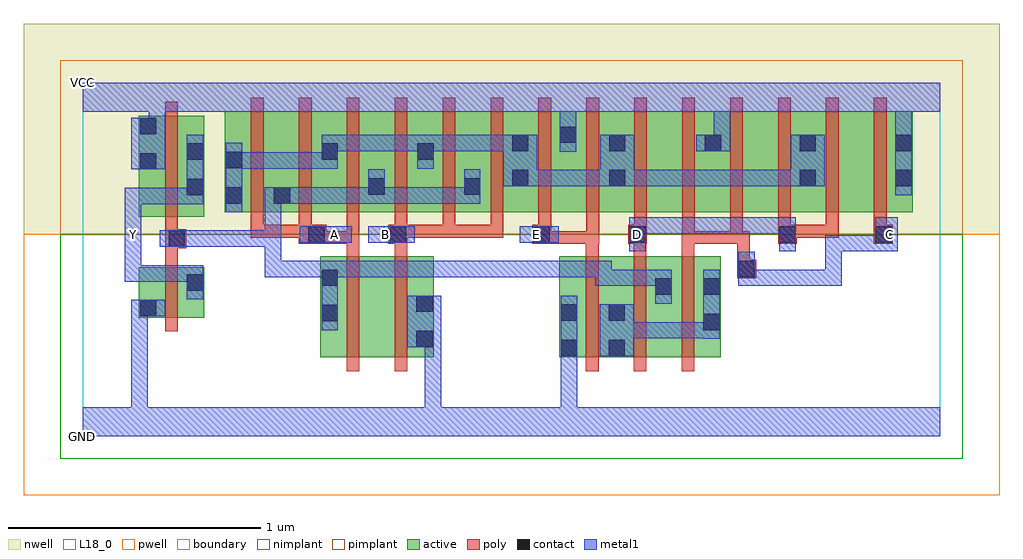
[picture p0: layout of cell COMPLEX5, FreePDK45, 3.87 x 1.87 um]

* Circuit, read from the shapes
.subckt COMPLEX5 A B C D E GND VCC Y
M1 Y n1 GND VSUBS nfet w=0.2u l=0.05u
M2 n2 A n1 VSUBS nfet w=0.4u l=0.05u
M3 GND B n2 VSUBS nfet w=0.4u l=0.05u
M4 n3 E GND VSUBS nfet w=0.4u l=0.05u
M5 n1 D n3 VSUBS nfet w=0.4u l=0.05u
M6 n3 C n1 VSUBS nfet w=0.4u l=0.05u
M7 Y n1 VCC n4 pfet w=0.4u l=0.05u
M8 n1 A n5 n4 pfet w=0.4u l=0.05u m=3
M9 n5 B n1 n4 pfet w=0.4u l=0.05u m=3
M10 VCC E n5 n4 pfet w=0.4u l=0.05u m=2
M11 n6 D n5 n4 pfet w=0.4u l=0.05u
M12 VCC C n6 n4 pfet w=0.4u l=0.05u
M13 n7 C VCC n4 pfet w=0.4u l=0.05u
M14 n5 D n7 n4 pfet w=0.4u l=0.05u
M15 n8 D n5 n4 pfet w=0.4u l=0.05u
M16 VCC C n8 n4 pfet w=0.4u l=0.05u
.ends

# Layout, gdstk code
import gdstk
lib = gdstk.Library(unit=1e-6, precision=1e-09)
def R(c, l, rs):  # rectangles x0, y0, x1, y1
    for r in rs: c.add(gdstk.rectangle(r[:2], r[2:], *l))
def A(c, l, x, y, w, h, nx, ny, dx, dy):  # array of equal rectangles
    R(c, l, [(x+i*dx, y+j*dy, x+i*dx+w, y+j*dy+h) for i in range(nx) for j in range(ny)])
active = (1, 0)
pwell = (2, 0)
nwell = (3, 0)
nimplant = (4, 0)
pimplant = (5, 0)
poly = (9, 0)
contact = (10, 0)
metal1 = (11, 0)
L18_0 = (18, 0)
boundary = (235, 0)

complex5 = lib.new_cell('COMPLEX5')
R(complex5, active, [(0.942,0.312,1.167,0.712), (1.167,0.312,1.392,0.712), (1.317,0.312,1.392,0.577), (1.89,0.312,2.155,0.712), (1.89,0.312,1.965,0.712), (2.08,0.312,2.155,0.597), (2.08,0.312,2.34,0.712), (2.265,0.312,2.53,0.712), (0.942,0.345,1.017,0.712), (2.265,0.345,2.34,0.63), (2.455,0.345,2.53,0.712), (0.222,0.47,0.482,0.67), (0.222,0.47,0.297,0.67), (0.407,0.532,0.482,0.67), (0.222,0.87,0.482,1.27), (0.222,0.87,0.297,1.267), (0.407,0.87,0.482,1.2), (0.562,0.887,0.827,1.287), (0.562,0.887,0.637,1.2), (0.752,0.887,1.017,1.287), (0.942,0.887,1.202,1.287), (1.127,0.887,1.397,1.287), (1.322,0.887,1.582,1.287), (1.507,0.887,1.772,1.287), (1.697,0.887,1.962,1.287), (1.887,0.887,2.157,1.287), (2.082,0.887,2.307,1.287), (2.307,0.887,2.537,1.287), (2.462,0.887,2.687,1.287), (2.687,0.887,2.912,1.287), (2.837,0.887,3.067,1.287), (3.067,0.887,3.292,1.287), (3.217,0.887,3.292,1.255), (0.752,0.907,0.827,1.07), (0.942,0.907,1.017,1.2), (1.127,0.907,1.202,1.07), (1.322,0.907,1.397,1.2), (1.507,0.907,1.582,1.07), (1.697,0.907,1.772,1.2), (1.887,0.907,1.962,1.255), (2.082,0.907,2.157,1.2), (2.462,0.907,2.537,1.255), (2.837,0.907,2.912,1.2)])
R(complex5, pwell, [(-0.235,-0.235,3.635,0.8)])
R(complex5, nwell, [(-0.235,0.8,3.635,1.635)])
R(complex5, nimplant, [(-0.09,-0.09,3.49,0.8)])
R(complex5, pimplant, [(-0.09,0.8,3.49,1.49)])
A(complex5, poly, 1.995, 0.257, 0.05, 0.51, 3, 1, 0.19, 0)
A(complex5, poly, 1.995, 0.717, 0.05, 0.095, 3, 1, 0.19, 0)
A(complex5, poly, 1.237, 0.787, 0.05, 0.095, 4, 1, 0.19, 0)
A(complex5, poly, 1.237, 0.787, 0.05, 0.05, 3, 1, 0.19, 0)
A(complex5, poly, 2.757, 0.787, 0.05, 0.095, 3, 1, 0.19, 0)
A(complex5, poly, 0.667, 0.832, 0.05, 0.51, 14, 1, 0.19, 0)
R(complex5, poly, [(1.047,0.257,1.097,0.767), (1.237,0.257,1.287,0.767), (0.327,0.415,0.377,0.725), (2.595,0.625,2.67,0.7), (2.595,0.65,2.645,0.812), (0.327,0.675,0.377,0.795), (1.047,0.717,1.097,0.812), (1.237,0.717,1.287,0.812), (0.327,0.745,0.41,0.82), (0.857,0.762,0.965,0.837), (0.915,0.762,1.097,0.812), (1.047,0.762,1.097,0.812), (1.047,0.762,1.097,0.812), (1.047,0.762,1.097,0.812), (1.047,0.762,1.097,0.882), (1.212,0.762,1.287,0.837), (1.782,0.762,1.857,0.837), (1.807,0.762,1.857,0.812), (1.807,0.762,1.857,0.812), (1.807,0.762,2.045,0.812), (1.995,0.762,2.047,0.812), (1.997,0.762,2.047,0.882), (2.162,0.762,2.237,0.837), (2.375,0.762,2.427,0.812), (2.377,0.762,2.427,0.882), (2.377,0.762,2.617,0.812), (2.567,0.762,2.617,0.812), (2.567,0.762,2.617,0.812), (2.567,0.762,2.617,0.882), (2.567,0.762,2.645,0.812), (2.595,0.762,2.645,0.812), (2.595,0.762,2.645,0.812), (2.757,0.762,2.832,0.837), (3.137,0.762,3.212,0.837), (0.327,0.77,0.377,0.865), (0.667,0.787,0.717,0.882), (0.667,0.787,0.717,0.837), (0.667,0.787,0.717,0.837), (0.667,0.787,0.717,0.837), (0.667,0.787,0.907,0.837), (0.857,0.787,0.907,0.882), (1.237,0.787,1.287,0.837), (1.237,0.787,1.477,0.837), (1.427,0.787,1.667,0.837), (1.617,0.787,1.667,0.837), (1.617,0.787,1.667,0.837), (2.187,0.787,2.237,0.882), (2.782,0.787,2.997,0.837), (2.782,0.787,2.832,0.837), (2.782,0.787,2.832,0.837), (2.947,0.787,2.997,0.837), (0.327,0.815,0.377,1.325)])
R(complex5, contact, [(1.895,0.317,1.96,0.382), (2.085,0.317,2.15,0.382), (1.322,0.352,1.387,0.417), (2.46,0.42,2.525,0.485), (0.947,0.455,1.012,0.52), (1.895,0.457,1.96,0.522), (2.085,0.457,2.15,0.522), (0.227,0.475,0.292,0.54), (1.322,0.492,1.387,0.557), (2.27,0.56,2.335,0.625), (2.46,0.56,2.525,0.625), (0.412,0.577,0.477,0.642), (0.947,0.595,1.012,0.66), (2.6,0.63,2.665,0.695), (0.34,0.75,0.405,0.815), (0.895,0.767,0.96,0.832), (1.217,0.767,1.282,0.832), (1.787,0.767,1.852,0.832), (2.167,0.767,2.232,0.832), (2.762,0.767,2.827,0.832), (3.142,0.767,3.207,0.832), (0.567,0.922,0.632,0.987), (0.757,0.922,0.822,0.987), (0.412,0.955,0.477,1.02), (1.132,0.957,1.197,1.022), (1.512,0.957,1.577,1.022), (1.702,0.99,1.767,1.055), (2.087,0.99,2.152,1.055), (2.842,0.99,2.907,1.055), (3.222,0.99,3.287,1.055), (0.227,1.057,0.292,1.122), (0.567,1.062,0.632,1.127), (0.412,1.095,0.477,1.16), (0.947,1.095,1.012,1.16), (1.327,1.095,1.392,1.16), (1.702,1.13,1.767,1.195), (2.087,1.13,2.152,1.195), (2.467,1.13,2.532,1.195), (2.842,1.13,2.907,1.195), (3.222,1.13,3.287,1.195), (1.892,1.162,1.957,1.227), (0.227,1.197,0.292,1.262)])
R(complex5, metal1, [(0,0,3.4,0.115), (0.192,0.05,0.257,0.115), (0.192,0.05,0.257,0.115), (0.192,0.05,0.257,0.115), (0.192,0.05,0.257,0.115), (0.192,0.05,0.257,0.115), (0.192,0.05,0.257,0.115), (0.192,0.05,0.257,0.115), (0.192,0.05,0.257,0.115), (0.192,0.05,0.257,0.54), (1.357,0.05,1.422,0.115), (1.357,0.05,1.422,0.115), (1.357,0.05,1.422,0.417), (1.895,0.05,1.96,0.115), (1.895,0.05,1.96,0.115), (1.895,0.05,1.96,0.347), (1.895,0.282,1.96,0.557), (1.895,0.282,1.96,0.347), (1.895,0.282,1.96,0.347), (2.05,0.317,2.185,0.522), (1.287,0.352,1.422,0.557), (1.357,0.352,1.422,0.417), (1.357,0.352,1.422,0.417), (2.46,0.385,2.525,0.66), (2.12,0.387,2.185,0.452), (2.12,0.387,2.185,0.452), (2.12,0.387,2.36,0.452), (2.295,0.387,2.36,0.452), (2.295,0.387,2.37,0.452), (2.305,0.387,2.37,0.452), (2.305,0.387,2.525,0.452), (0.947,0.42,1.012,0.695), (0.192,0.475,0.327,0.54), (2.27,0.525,2.335,0.66), (0.412,0.542,0.477,0.677), (2.032,0.595,2.097,0.66), (2.032,0.595,2.097,0.66), (2.032,0.595,2.335,0.66), (2.032,0.595,2.097,0.695), (2.6,0.595,2.665,0.66), (2.6,0.595,2.665,0.66), (2.6,0.595,2.665,0.66), (2.6,0.595,2.665,0.66), (2.6,0.595,2.665,0.73), (2.6,0.595,2.872,0.66), (2.807,0.595,2.872,0.66), (2.807,0.595,2.872,0.66), (2.807,0.595,2.872,0.66), (2.807,0.595,3.01,0.66), (2.945,0.595,3.01,0.797), (2.945,0.595,3.01,0.66), (2.945,0.595,3.01,0.66), (2.945,0.595,3.01,0.66), (0.167,0.612,0.232,0.797), (0.167,0.612,0.232,0.677), (0.167,0.612,0.232,0.677), (0.167,0.612,0.232,0.677), (0.167,0.612,0.477,0.677), (0.722,0.63,0.787,0.815), (0.722,0.63,0.787,0.695), (0.722,0.63,0.787,0.695), (0.722,0.63,0.787,0.695), (0.722,0.63,1.012,0.695), (0.947,0.63,1.012,0.695), (0.947,0.63,1.012,0.695), (0.947,0.63,1.205,0.695), (1.14,0.63,1.205,0.695), (1.14,0.63,1.205,0.695), (1.14,0.63,1.205,0.695), (1.14,0.63,1.417,0.695), (1.352,0.63,1.417,0.695), (1.352,0.63,1.417,0.695), (1.352,0.63,1.417,0.695), (1.352,0.63,1.555,0.695), (1.49,0.63,1.555,0.695), (1.49,0.63,1.555,0.695), (1.49,0.63,1.555,0.695), (1.49,0.63,1.802,0.695), (1.737,0.63,1.802,0.695), (1.737,0.63,1.802,0.695), (1.737,0.63,1.802,0.695), (1.737,0.63,1.96,0.695), (1.895,0.63,1.96,0.695), (1.895,0.63,1.96,0.695), (1.895,0.63,1.96,0.695), (1.895,0.63,2.097,0.695), (0.167,0.732,0.232,0.867), (2.167,0.732,2.232,0.867), (2.762,0.732,2.827,0.867), (2.945,0.732,3.207,0.797), (2.945,0.732,3.01,0.797), (3.142,0.732,3.232,0.867), (0.305,0.75,0.44,0.815), (0.375,0.75,0.44,0.815), (0.375,0.75,0.44,0.815), (0.375,0.75,0.65,0.815), (0.585,0.75,0.65,0.815), (0.585,0.75,0.65,0.815), (0.585,0.75,0.65,0.815), (0.585,0.75,0.787,0.815), (0.722,0.75,0.787,0.815), (0.722,0.75,0.787,0.987), (0.86,0.767,1.067,0.832), (1.132,0.767,1.317,0.832), (1.732,0.767,1.887,0.832), (0.167,0.802,0.232,0.985), (2.167,0.802,2.36,0.867), (2.295,0.802,2.36,0.867), (2.295,0.802,2.497,0.867), (2.432,0.802,2.497,0.867), (2.432,0.802,2.497,0.867), (2.432,0.802,2.497,0.867), (2.432,0.802,2.635,0.867), (2.57,0.802,2.635,0.867), (2.57,0.802,2.635,0.867), (2.57,0.802,2.635,0.867), (2.57,0.802,2.827,0.867), (0.567,0.887,0.632,1.162), (0.167,0.92,0.232,0.985), (0.167,0.92,0.232,0.985), (0.167,0.92,0.232,0.985), (0.167,0.92,0.477,0.985), (0.412,0.92,0.477,1.195), (0.722,0.922,0.857,0.987), (0.792,0.922,0.857,0.987), (0.792,0.922,0.857,0.987), (0.792,0.922,1.06,0.987), (0.995,0.922,1.06,0.987), (0.995,0.922,1.06,0.987), (0.995,0.922,1.06,0.987), (0.995,0.922,1.197,0.987), (1.132,0.922,1.197,0.987), (1.132,0.922,1.197,0.987), (1.132,0.922,1.197,1.057), (1.132,0.922,1.352,0.987), (1.287,0.922,1.352,0.987), (1.287,0.922,1.352,0.987), (1.287,0.922,1.352,0.987), (1.287,0.922,1.577,0.987), (1.512,0.922,1.577,1.057), (3.222,0.955,3.287,1.23), (1.667,0.99,1.802,1.195), (1.737,0.99,1.802,1.055), (1.737,0.99,1.802,1.055), (1.737,0.99,1.802,1.055), (1.737,0.99,1.802,1.055), (1.737,0.99,1.94,1.055), (1.875,0.99,1.94,1.055), (1.875,0.99,1.94,1.055), (1.875,0.99,1.94,1.055), (1.875,0.99,2.117,1.055), (2.052,0.99,2.187,1.195), (2.122,0.99,2.187,1.055), (2.122,0.99,2.187,1.055), (2.122,0.99,2.36,1.055), (2.295,0.99,2.36,1.055), (2.295,0.99,2.497,1.055), (2.432,0.99,2.497,1.055), (2.432,0.99,2.497,1.055), (2.432,0.99,2.497,1.055), (2.432,0.99,2.69,1.055), (2.625,0.99,2.69,1.055), (2.625,0.99,2.69,1.055), (2.625,0.99,2.69,1.055), (2.625,0.99,2.872,1.055), (2.807,0.99,2.872,1.055), (2.807,0.99,2.872,1.055), (2.807,0.99,2.942,1.195), (0.192,1.057,0.327,1.262), (0.567,1.06,0.632,1.125), (0.567,1.06,0.632,1.125), (0.567,1.06,0.875,1.125), (0.81,1.06,0.875,1.125), (0.81,1.06,0.875,1.125), (0.81,1.06,0.875,1.125), (0.81,1.06,1.012,1.125), (0.947,1.06,1.012,1.195), (1.327,1.06,1.392,1.195), (1.892,1.127,1.957,1.262), (0.947,1.13,1.012,1.195), (0.947,1.13,1.012,1.195), (0.947,1.13,1.215,1.195), (1.15,1.13,1.215,1.195), (1.15,1.13,1.215,1.195), (1.15,1.13,1.215,1.195), (1.15,1.13,1.392,1.195), (1.327,1.13,1.392,1.195), (1.327,1.13,1.392,1.195), (1.327,1.13,1.555,1.195), (1.49,1.13,1.555,1.195), (1.49,1.13,1.555,1.195), (1.49,1.13,1.555,1.195), (1.49,1.13,1.732,1.195), (2.432,1.13,2.567,1.195), (2.502,1.13,2.567,1.35), (3.222,1.165,3.287,1.35), (0.262,1.197,0.327,1.35), (1.892,1.197,1.957,1.35), (0,1.285,3.4,1.4)])
R(complex5, L18_0, [(0,0,3.4,0.115), (0.192,0.05,0.257,0.115), (0.192,0.05,0.257,0.115), (0.192,0.05,0.257,0.115), (0.192,0.05,0.257,0.115), (0.192,0.05,0.257,0.115), (0.192,0.05,0.257,0.115), (0.192,0.05,0.257,0.115), (0.192,0.05,0.257,0.115), (0.192,0.05,0.257,0.54), (1.357,0.05,1.422,0.115), (1.357,0.05,1.422,0.115), (1.357,0.05,1.422,0.417), (1.895,0.05,1.96,0.115), (1.895,0.05,1.96,0.115), (1.895,0.05,1.96,0.347), (1.895,0.282,1.96,0.347), (1.895,0.282,1.96,0.347), (1.895,0.282,1.96,0.557), (1.287,0.352,1.422,0.557), (1.357,0.352,1.422,0.417), (1.357,0.352,1.422,0.417), (0.192,0.475,0.327,0.54), (0.412,0.542,0.477,0.677), (2.6,0.595,2.665,0.66), (2.6,0.595,2.665,0.66), (2.6,0.595,2.665,0.66), (2.6,0.595,2.665,0.66), (2.6,0.595,2.665,0.73), (2.6,0.595,2.872,0.66), (2.807,0.595,2.872,0.66), (2.807,0.595,2.872,0.66), (2.807,0.595,2.872,0.66), (2.807,0.595,3.01,0.66), (2.945,0.595,3.01,0.66), (2.945,0.595,3.01,0.66), (2.945,0.595,3.01,0.66), (2.945,0.595,3.01,0.797), (0.167,0.612,0.232,0.677), (0.167,0.612,0.232,0.677), (0.167,0.612,0.232,0.677), (0.167,0.612,0.232,0.797), (0.167,0.612,0.477,0.677), (0.167,0.732,0.232,0.867), (2.167,0.732,2.232,0.867), (2.762,0.732,2.827,0.867), (2.945,0.732,3.01,0.797), (2.945,0.732,3.207,0.797), (3.142,0.732,3.232,0.867), (0.167,0.767,0.232,0.832), (0.86,0.767,1.067,0.832), (0.967,0.767,1.032,0.832), (1.132,0.767,1.317,0.832), (1.167,0.767,1.232,0.832), (1.732,0.767,1.887,0.832), (1.767,0.767,1.832,0.832), (2.167,0.767,2.232,0.832), (3.167,0.767,3.232,0.832), (0.167,0.802,0.232,0.985), (2.167,0.802,2.36,0.867), (2.295,0.802,2.36,0.867), (2.295,0.802,2.497,0.867), (2.432,0.802,2.497,0.867), (2.432,0.802,2.497,0.867), (2.432,0.802,2.497,0.867), (2.432,0.802,2.635,0.867), (2.57,0.802,2.635,0.867), (2.57,0.802,2.635,0.867), (2.57,0.802,2.635,0.867), (2.57,0.802,2.827,0.867), (0.167,0.92,0.232,0.985), (0.167,0.92,0.232,0.985), (0.167,0.92,0.232,0.985), (0.167,0.92,0.477,0.985), (0.412,0.92,0.477,1.195), (3.222,0.955,3.287,1.23), (0.192,1.057,0.327,1.262), (1.892,1.127,1.957,1.262), (2.432,1.13,2.567,1.195), (2.502,1.13,2.567,1.35), (3.222,1.165,3.287,1.35), (0.262,1.197,0.327,1.35), (1.892,1.197,1.957,1.35), (0,1.285,3.4,1.4)])
R(complex5, boundary, [(0,0,3.4,1.4)])
complex5.add(gdstk.Label('A', (1,0.8), layer=11, texttype=0))
complex5.add(gdstk.Label('B', (1.2,0.8), layer=11, texttype=0))
complex5.add(gdstk.Label('C', (3.2,0.8), layer=11, texttype=0))
complex5.add(gdstk.Label('D', (2.2,0.8), layer=11, texttype=0))
complex5.add(gdstk.Label('E', (1.8,0.8), layer=11, texttype=0))
complex5.add(gdstk.Label('Y', (0.2,0.8), layer=11, texttype=0))
complex5.add(gdstk.Label('VCC', (0,1.4), layer=11, texttype=0))
complex5.add(gdstk.Label('GND', (0,0), layer=11, texttype=0))

lib.write_gds('COMPLEX5.gds')
